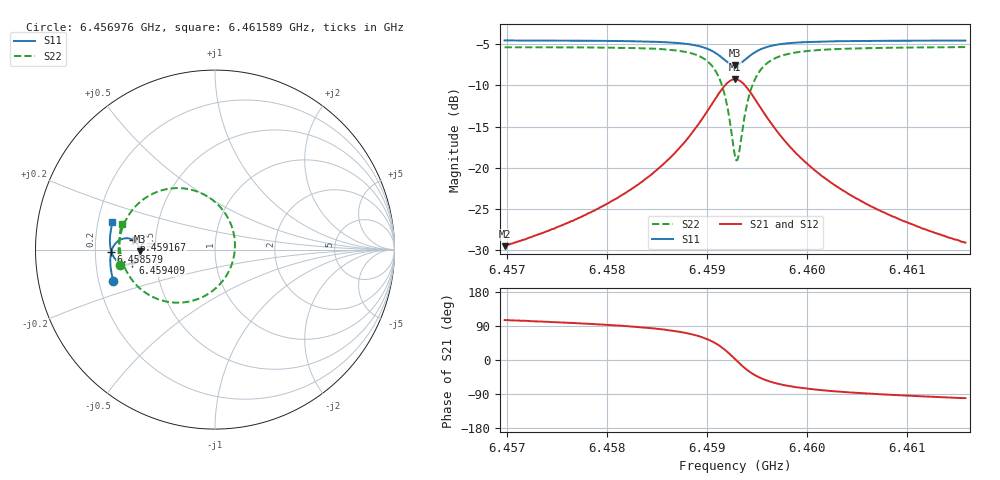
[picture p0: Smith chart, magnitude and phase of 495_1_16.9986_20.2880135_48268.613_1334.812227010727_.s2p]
#  HZ  S  RI  R  50.00
! Rohde & Schwarz Vector Network Analyzer
! Rohde-Schwarz,ZNB20-2Port,1311601062101988,3.16
! Created: UTC 3/20/2024, 11:14:15 PM
! freq[Hz]  re:S11  im:S11  re:S21  im:S21  re:S12  im:S12  re:S22  im:S22
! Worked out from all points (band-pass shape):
!   401 points, 6.456976 GHz to 6.461589 GHz, reference 50 ohm
!   highest |S21| = -9.26 dB at 6.459282 GHz (marker M1); lowest = -29.5 dB at 6.456976 GHz (marker M2)
!   |S21| within 3 dB of the highest: 6.459052 GHz to 6.459513 GHz (461.6 kHz wide, 0.00715 % of centre)
!   lowest |S11| = -7.6 dB at 6.459282 GHz (marker M3), VSWR 2.44, Z = 20.5 - j0.491 ohm
!   |S11| at or under -10 dB: nowhere
!   |S22| runs from -19.1 to -5.4 dB; largest |S21 - S12| = 0.013
!   S11 on the Smith chart (normalised r, x): 6.456976 GHz: 0.26, -0.14; 6.458579 GHz: 0.27, -0.01; 6.459167 GHz: 0.37, +0.05; 6.459409 GHz: 0.37, -0.07; 6.461589 GHz: 0.26, +0.12
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6.4569757e9  -0.5665 -0.1723  -0.00886 0.0322  -0.00721 0.0322  -0.5316 -0.0849
6.4577484e9  -0.5808 -0.1047  -0.00565 0.0502  -0.00302 0.0496  -0.5373 0.0052
6.4581752e9  -0.5836 -0.0621  0.000293 0.0696  0.00354 0.0682  -0.5292 0.0725
6.4585212e9  -0.5797 -0.0208  0.0142 0.0984  0.018 0.0957  -0.504 0.1504
6.4585788e9  -0.5781 -0.0129  0.0185 0.1053  0.0227 0.1021  -0.4957 0.1668
6.4587864e9  -0.5651 0.0192  0.0458 0.1376  0.0501 0.1327  -0.4443 0.2394
6.4589363e9  -0.5425 0.0455  0.0909 0.1681  0.0942 0.1614  -0.3611 0.3039
6.4590747e9  -0.4988 0.063  0.178 0.1845  0.1789 0.1773  -0.2023 0.3426
6.459167e9  -0.4545 0.0529  0.2675 0.1535  0.2678 0.1476  -0.0363 0.2925
6.4592131e9  -0.4334 0.0341  0.311 0.1108  0.3123 0.1055  0.0463 0.2166
6.4592823e9  -0.4187 -0.00987  0.3442 0.0142  0.3478 0.00732  0.1112 0.0373
6.4592939e9  -0.4191 -0.0178  0.344 -0.00349  0.3479 -0.0111  0.1108 0.00387
6.4593169e9  -0.4226 -0.0334  0.3386 -0.038  0.3424 -0.0472  0.0999 -0.062
6.459363e9  -0.4381 -0.0594  0.3102 -0.0979  0.3123 -0.1096  0.0426 -0.1749
6.4594092e9  -0.46 -0.0756  0.268 -0.1388  0.2673 -0.152  -0.0422 -0.2495
6.4595014e9  -0.5033 -0.0823  0.1836 -0.1698  0.1775 -0.1815  -0.2106 -0.2958
6.4596514e9  -0.547 -0.0619  0.096 -0.1562  0.0876 -0.1624  -0.3778 -0.2465
6.4598128e9  -0.5685 -0.0342  0.0513 -0.1284  0.0437 -0.1311  -0.4582 -0.1747
6.460055e9  -0.5811 0.00141  0.0221 -0.0969  0.0164 -0.0975  -0.506 -0.0923
6.4603779e9  -0.5855 0.0398  0.00698 -0.0716  0.0027 -0.0712  -0.5269 -0.0178
6.4608277e9  -0.5836 0.0852  -0.00144 -0.0517  -0.00436 -0.0508  -0.5317 0.0548
6.4615889e9  -0.5712 0.1525  -0.00643 -0.0345  -0.0083 -0.0334  -0.5202 0.1445
